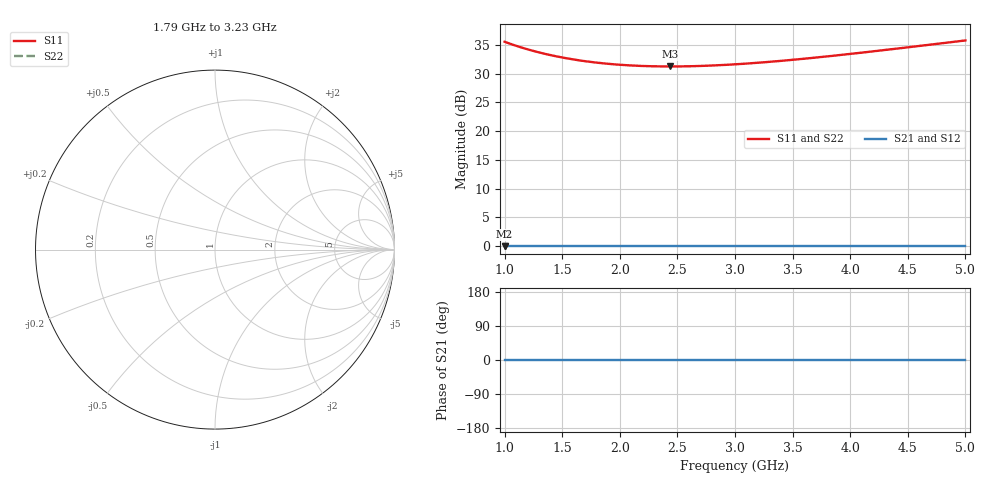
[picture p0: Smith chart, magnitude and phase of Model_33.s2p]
# GHZ S RI R 50
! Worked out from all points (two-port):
!   401 points, 1 GHz to 5 GHz, reference 50 ohm
!   highest |S21| = 0.00 dB at 1 GHz (marker M1); lowest = 0.0 dB at 1 GHz (marker M2)
!   |S21| within 3 dB of the highest: start of sweep to end of sweep
!   lowest |S11| = 31.2 dB at 2.44 GHz (marker M3)
!   |S11| at or under -10 dB: nowhere
!   |S22| runs from 31.2 to 35.7 dB; largest |S21 - S12| = 0
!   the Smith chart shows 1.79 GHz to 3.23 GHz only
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1  59.67 0  1 0  1 0  59.67 0
1.02  58.66 0  1 0  1 0  58.66 0
1.15  53.05 0  1 0  1 0  53.05 0
1.22  50.6 0  1 0  1 0  50.6 0
1.3  48.19 0  1 0  1 0  48.19 0
1.38  46.12 0  1 0  1 0  46.12 0
1.47  44.15 0  1 0  1 0  44.15 0
1.57  42.33 0  1 0  1 0  42.33 0
1.67  40.83 0  1 0  1 0  40.83 0
1.82  39.09 0  1 0  1 0  39.09 0
1.98  37.79 0  1 0  1 0  37.79 0
2.15  36.92 0  1 0  1 0  36.92 0
2.34  36.46 0  1 0  1 0  36.46 0
2.44  36.4 0  1 0  1 0  36.4 0
2.71  36.8 0  1 0  1 0  36.8 0
3  37.99 0  1 0  1 0  37.99 0
3.33  40.16 0  1 0  1 0  40.16 0
3.67  43.18 0  1 0  1 0  43.18 0
4  46.78 0  1 0  1 0  46.78 0
4.34  51.13 0  1 0  1 0  51.13 0
4.64  55.46 0  1 0  1 0  55.46 0
5  61.25 0  1 0  1 0  61.25 0
